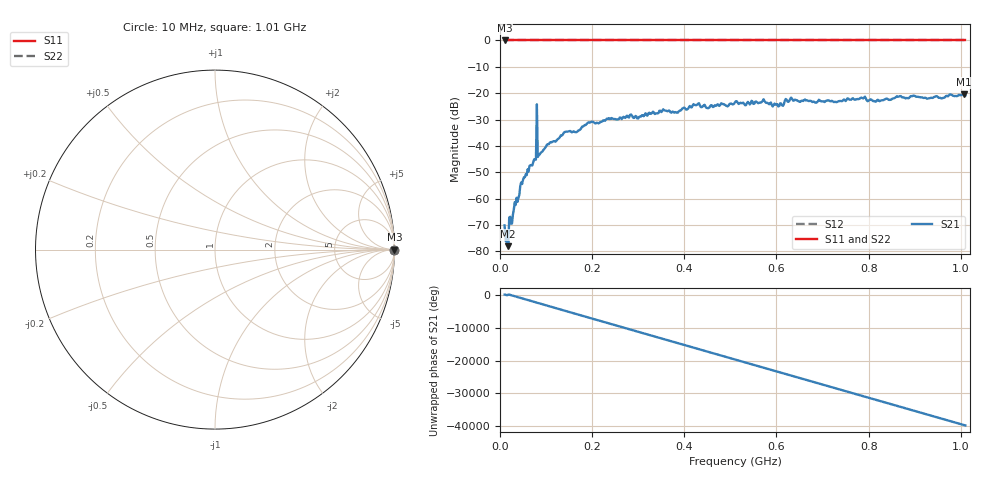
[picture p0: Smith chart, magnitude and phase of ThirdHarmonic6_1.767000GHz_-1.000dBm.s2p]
! 8/16/2025 9:20:37 PM
! C:\ANRITSUVNA\TEMP\TEMP.S2P
! CHANNEL.1
! TR.MEASUREMENT
! RAW.DATA
! RF.CORRECTION.OFF
! AVERAGING.OFF
! IF.BANDWIDTH: 5KHZ
! SWEEPTYPE:  FREQ.SWEEP(Linear)
! Reference Plane Port Info
! PORT:  PORT1  PORT2
! DISTANCE:  0  m  0  m
! TIME:  0  s  0  s
! PHASE.OFFSET:  0  deg.  0  deg.
! LOSS:  0  dB  0  dB
! REF.LOSS:  0  dB  0  dB
! REF.FREQ:  0  Hz  0  Hz
! Power Info
! POWER:  -20  dBm  -20  dBm
! EFF.POWER:  -20  dBm  -20  dBm
! SOURCE.ATTEN:  0  dB  0  dB
! TEST.ATTEN:  0  dB  0  dB
# GHZ S RI R 50.0
! FREQ.GHZ  S11RE  S11IM  S21RE  S21IM  S12RE  S12IM  S22RE  S22IM
!; PortSelection: Port_12
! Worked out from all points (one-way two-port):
!   501 points, 10 MHz to 1.01 GHz, reference 50 ohm
!   highest |S21| = -20.41 dB at 1.006 GHz (marker M1); lowest = -78.0 dB at 18 MHz (marker M2)
!   lowest |S11| = 0.0 dB at 10 MHz (marker M3)
!   |S11| at or under -10 dB: nowhere
!   |S22| runs from 0.0 to 0.0 dB; largest |S21 - S12| = 1.1
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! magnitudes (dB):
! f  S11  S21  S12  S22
! 10 MHz  0.0  -70.1  0.0  0.0
! 14 MHz  0.0  -76.4  0.0  0.0
! 18 MHz  0.0  -78.0  0.0  0.0
! 48 MHz  0.0  -54.5  0.0  0.0
! 74 MHz  0.0  -45.1  0.0  0.0
! 76 MHz  0.0  -45.0  0.0  0.0
! 84 MHz  0.0  -43.5  0.0  0.0
! 86 MHz  0.0  -43.2  0.0  0.0
! 142 MHz  0.0  -34.6  0.0  0.0
! 178 MHz  0.0  -32.7  0.0  0.0
! 196 MHz  0.0  -31.1  0.0  0.0
! 344 MHz  0.0  -27.5  0.0  0.0
! 428 MHz  0.0  -24.3  0.0  0.0
! 450 MHz  0.0  -25.6  0.0  0.0
! 510 MHz  0.0  -23.5  0.0  0.0
! 572 MHz  0.0  -22.3  0.0  0.0
! 602 MHz  0.0  -24.2  0.0  0.0
! 632 MHz  0.0  -21.7  0.0  0.0
! 678 MHz  0.0  -23.3  0.0  0.0
! 844 MHz  0.0  -22.5  0.0  0.0
! 1.006 GHz  0.0  -20.4  0.0  0.0
! 1.01 GHz  0.0  -20.9  0.0  0.0
